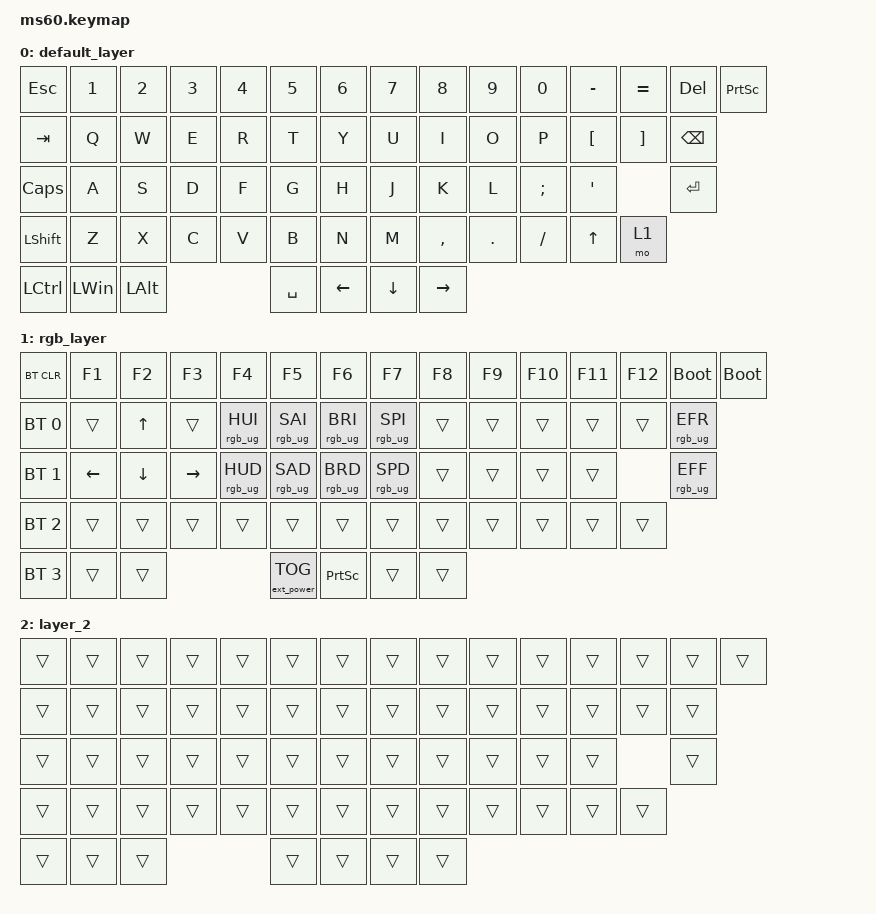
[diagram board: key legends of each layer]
/*
 * Copyright (c) 2021 Nick Winans
 *
 * SPDX-License-Identifier: MIT
 */

#include <behaviors.dtsi>
#include <dt-bindings/zmk/bt.h>
#include <dt-bindings/zmk/ext_power.h>
#include <dt-bindings/zmk/keys.h>
#include <dt-bindings/zmk/rgb.h>

/ {
    keymap {
        compatible = "zmk,keymap";

        default_layer {
            // -------------------------------------------------------------------------------------------
            // | ESC |  1  |  2  |  3  |  4  |  5  |  6  |  7  |  8  |  9  |  0  |  -  |  =  | BKSP |BKSP|
            // | TAB  |  Q  |  W  |  E  |  R  |  T  |  Y  |  U  |  I  |  O  |  P  |  [  |  ]  |   "|"    |
            // | CAPS  |  A  |  S  |  D  |  F  |  G  |  H  |  J  |  K  |  L  |  ;  |  '  |     ENTER     |
            // |  SHIFT  |  Z  |  X  |  C  |  V  |  B  |  N  |  M  |  ,  |  .  |   SHFT   |  UP  |   /   |
            // |  CTL  |  WIN  |  ALT  |           SPACE             | FN(1) | WIN | LEFT | DOWN | RIGHT |
            // -------------------------------------------------------------------------------------------

            bindings = <
&kp ESCAPE        &kp N1    &kp N2  &kp N3  &kp N4     &kp N5          &kp N6    &kp N7     &kp N8   &kp N9     &kp N0     &kp MINUS  &kp EQUAL        &kp DEL  &kp PRINTSCREEN
   &kp TAB         &kp Q     &kp W   &kp E   &kp R      &kp T           &kp Y     &kp U      &kp I    &kp O      &kp P      &kp LBKT   &kp RBKT  &kp BACKSPACE
  &kp CLCK         &kp A     &kp S   &kp D   &kp F      &kp G           &kp H     &kp J      &kp K    &kp L   &kp SEMI       &kp SQT                   &kp RET
 &kp LSHFT         &kp Z     &kp X   &kp C   &kp V      &kp B           &kp N     &kp M  &kp COMMA  &kp DOT  &kp SLASH  &kp UP_ARROW      &mo 1
 &kp LCTRL  &kp LEFT_WIN  &kp LALT                  &kp SPACE  &kp LEFT_ARROW  &kp DOWN  &kp RIGHT
            >;
        };

        rgb_layer {
            // ------------------------------------------------------------------------------------------------
            // | BT CLR | F1  | F2  | F3  | F4  | F5  | F6  | F7  | F8  | F9  | F10 | F11 | F12 | BOOT | BOOT |
            // |  BT 1   |   |  UP |   | HUEUP | SATUP | BRIUP | SPDUP |   |     |    |     |     |  RGB_efect|
            // |   BT 2   | LT |  DN  | RT | HUEDN | SATDN | BRIDN | SPDDN |   |     |   |     |  EFFECT FORW |
            // |    BT 3     |     |      |      |     |     |     |     |     |     |     |                  |
            // |   BT 4  |      |      |             TOG RGB                | PRT SCR |    |    |     |  DEL  |
            // ------------------------------------------------------------------------------------------------

            bindings = <
  &bt BT_CLR    &kp F1    &kp F2     &kp F3           &kp F4             &kp F5           &kp F6           &kp F7  &kp F8  &kp F9  &kp F10  &kp F11  &kp F12      &bootloader  &bootloader
&bt BT_SEL 0    &trans    &kp UP     &trans  &rgb_ug RGB_HUI    &rgb_ug RGB_SAI  &rgb_ug RGB_BRI  &rgb_ug RGB_SPI  &trans  &trans   &trans   &trans   &trans  &rgb_ug RGB_EFR
&bt BT_SEL 1  &kp LEFT  &kp DOWN  &kp RIGHT  &rgb_ug RGB_HUD    &rgb_ug RGB_SAD  &rgb_ug RGB_BRD  &rgb_ug RGB_SPD  &trans  &trans   &trans   &trans           &rgb_ug RGB_EFF
&bt BT_SEL 2    &trans    &trans     &trans           &trans             &trans           &trans           &trans  &trans  &trans   &trans   &trans   &trans
&bt BT_SEL 3    &trans    &trans                              &ext_power EP_TOG        &kp PSCRN           &trans  &trans
            >;
        };

        layer_2 {
            bindings = <
&trans  &trans  &trans  &trans  &trans  &trans  &trans  &trans  &trans  &trans  &trans  &trans  &trans  &trans  &trans
&trans  &trans  &trans  &trans  &trans  &trans  &trans  &trans  &trans  &trans  &trans  &trans  &trans  &trans
&trans  &trans  &trans  &trans  &trans  &trans  &trans  &trans  &trans  &trans  &trans  &trans          &trans
&trans  &trans  &trans  &trans  &trans  &trans  &trans  &trans  &trans  &trans  &trans  &trans  &trans
&trans  &trans  &trans                  &trans  &trans  &trans  &trans
            >;
        };
    };
};
